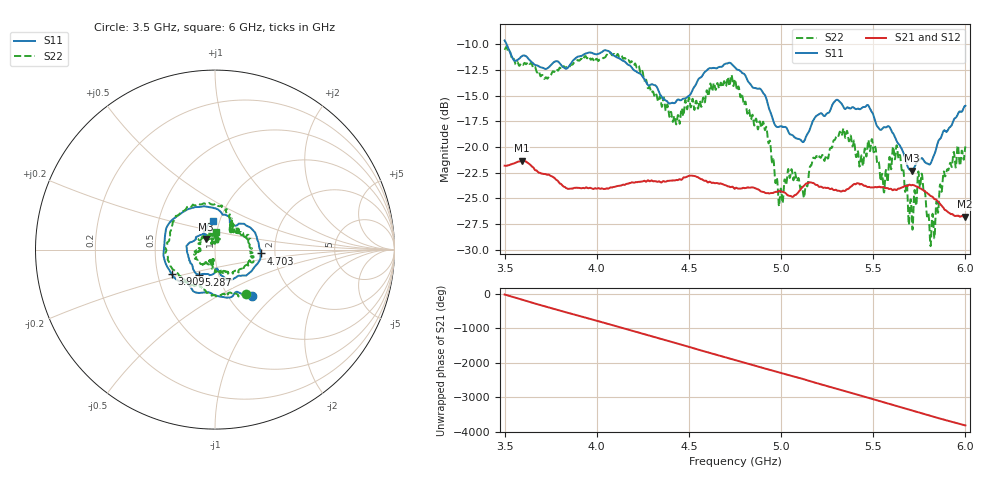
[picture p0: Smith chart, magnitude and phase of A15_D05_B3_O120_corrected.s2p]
! Created with skrf 1.9.0 (http://scikit-rf.org).
# Hz S RI R 50.0
!freq ReS11 ImS11 ReS21 ImS21 ReS12 ImS12 ReS22 ImS22
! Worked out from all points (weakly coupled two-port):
!   1601 points, 3.5 GHz to 6 GHz, reference 50 ohm
!   highest |S21| = -21.32 dB at 3.594 GHz (marker M1); lowest = -26.8 dB at 5.997 GHz (marker M2)
!   lowest |S11| = -22.3 dB at 5.711 GHz (marker M3), VSWR 1.17, Z = 45 + j5.33 ohm
!   |S11| at or under -10 dB: 3.512 GHz to end of sweep
!   |S22| runs from -29.7 to -10.2 dB; largest |S21 - S12| = 0.001
!   S11 on the Smith chart (normalised r, x): 3.5 GHz: 1.27, -0.74; 3.909 GHz: 0.59, -0.17; 4.703 GHz: 1.68, -0.08; 5.287 GHz: 0.81, -0.23; 6 GHz: 0.94, +0.30
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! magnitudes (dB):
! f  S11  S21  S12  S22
! 3.5 GHz  -9.6  -21.8  -21.8  -10.4
! 3.594 GHz  -11.1  -21.3  -21.3  -11.9
! 3.909 GHz  -11.1  -24.0  -24.0  -11.5
! 3.917 GHz  -11.1  -24.0  -24.0  -11.4
! 4.142 GHz  -11.6  -23.7  -23.7  -11.4
! 4.334 GHz  -14.5  -23.4  -23.3  -15.6
! 4.441 GHz  -15.4  -23.2  -23.2  -16.9
! 4.703 GHz  -11.9  -23.7  -23.7  -13.9
! 4.75 GHz  -12.2  -24.0  -24.0  -13.4
! 4.912 GHz  -14.9  -24.5  -24.4  -18.4
! 4.997 GHz  -18.0  -24.3  -24.3  -24.1
! 5.131 GHz  -19.2  -23.6  -23.6  -24.0
! 5.167 GHz  -17.7  -23.5  -23.5  -21.6
! 5.287 GHz  -15.6  -24.2  -24.2  -19.3
! 5.584 GHz  -18.0  -24.1  -24.1  -21.6
! 5.636 GHz  -19.7  -24.1  -24.0  -21.0
! 5.711 GHz  -22.3  -23.7  -23.7  -27.6
! 5.755 GHz  -21.2  -24.0  -24.0  -23.9
! 5.82 GHz  -21.2  -24.8  -24.8  -26.6
! 5.891 GHz  -18.4  -26.1  -26.1  -22.9
! 5.997 GHz  -16.0  -26.8  -26.7  -20.3
! 6 GHz  -16.0  -26.8  -26.8  -19.9
